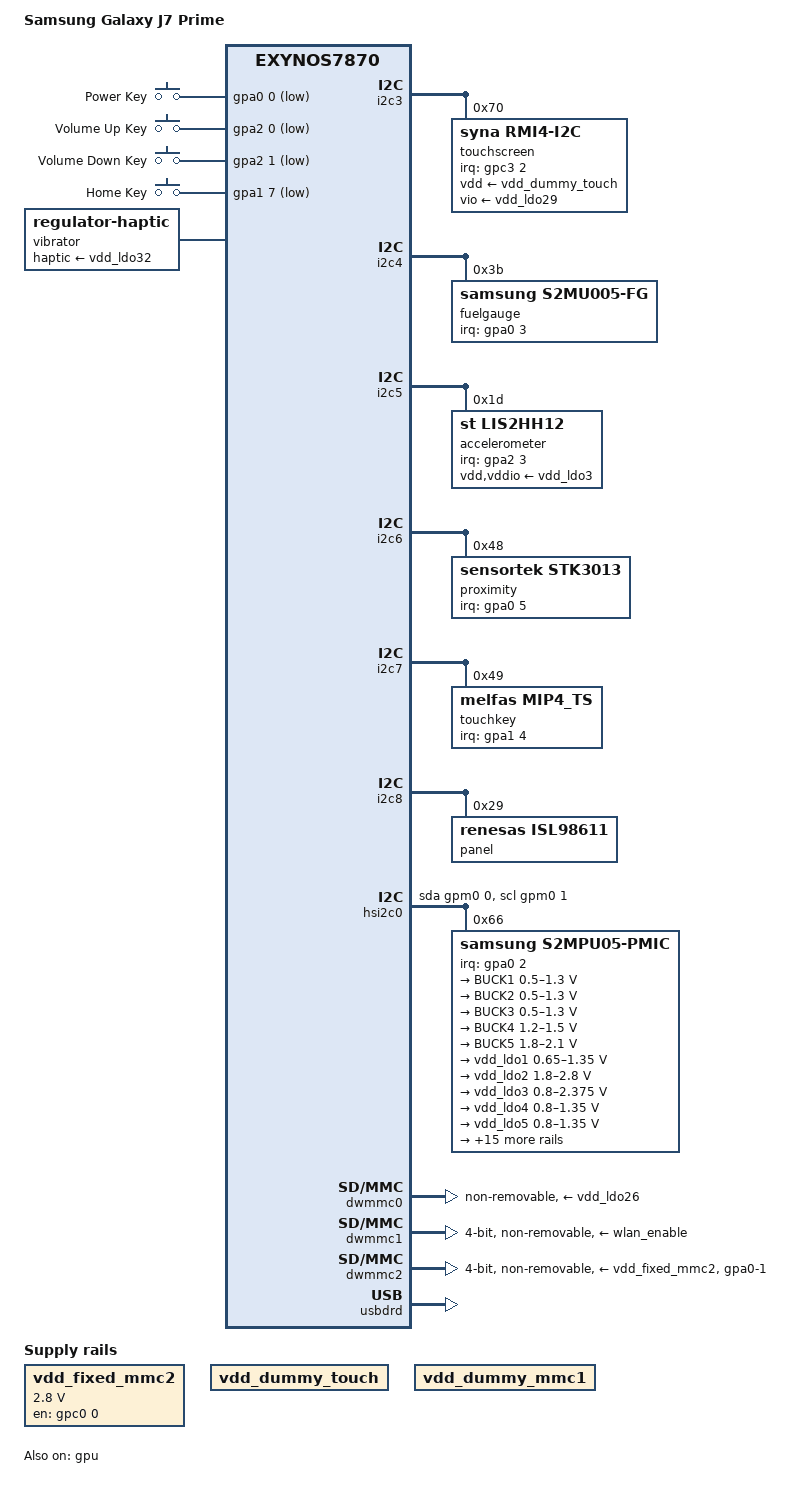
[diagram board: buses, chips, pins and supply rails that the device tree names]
// SPDX-License-Identifier: GPL-2.0
/*
 * Samsung Galaxy J7 Prime (on7xelte) device tree source
 *
 * Copyright (c) ???
 */

/dts-v1/;
#include "exynos7870.dtsi"
#include <dt-bindings/gpio/gpio.h>
#include <dt-bindings/input/input.h>
#include <dt-bindings/interrupt-controller/irq.h>

/ {
	model = "Samsung Galaxy J7 Prime";
	compatible = "samsung,on7xelte", "samsung,exynos7870";
	chassis-type = "handset";

	chosen {
	};

	reserved-memory {
		#address-cells = <2>;
		#size-cells = <1>;
		ranges;

		mfc_nfw@AE60000 {
			reg = <0 0xae600000 0x200000>;
		};

		mfc_fw@AE800000 {
			reg = <0 0xae800000 0x200000>;
		};

		bootloaderfb@67000000 {
			reg = <0 0x67000000 0x7e9000>;
			no-map;
		};
	};

	memory@40000000 {
		device_type = "memory";
		reg = <0 0x40000000 0x3e400000>;
	};

	memory@80000000 {
		device_type = "memory";
		reg = <0 0x80000000 0x80000000>;
	};

	bootloaderfb@67000000 {
		compatible = "simple-framebuffer";
		reg = <0 0x67000000 (1080*1920*4)>;
		width = <1080>;
		height = <1920>;
		stride = <(1080*4)>;
		format = "a8r8g8b8";
	};

	gpio-keys {
		compatible = "gpio-keys";
		pinctrl-names = "default";
		pinctrl-0 = <&key_power &key_volup &key_voldown &key_home>;

		key-power {
			label = "Power Key";
			gpios = <&gpa0 0 GPIO_ACTIVE_LOW>;
			linux,code = <KEY_POWER>;
	        };

		key-volup {
			label = "Volume Up Key";
			gpios = <&gpa2 0 GPIO_ACTIVE_LOW>;
			linux,code = <KEY_VOLUMEUP>;
		};

		key-voldown {
			label = "Volume Down Key";
			gpios = <&gpa2 1 GPIO_ACTIVE_LOW>;
			linux,code = <KEY_VOLUMEDOWN>;
		};

		key-home {
			label = "Home Key";
			gpios = <&gpa1 7 GPIO_ACTIVE_LOW>;
			linux,code = <KEY_HOMEPAGE>;
		};
	};

	vibrator {
		compatible = "regulator-haptic";
		haptic-supply = <&vdd_ldo32>;
		min-microvolt = <3300000>;
		max-microvolt = <3300000>;
	};

	vdd_fixed_mmc2: fixedregulator-mmc2 {
		compatible = "regulator-fixed";
		regulator-name = "vdd_fixed_mmc2";
		regulator-max-microvolt = <2800000>;
		regulator-min-microvolt = <2800000>;

		gpio = <&gpc0 0 GPIO_ACTIVE_HIGH>;
		enable-active-high;
	};

	vdd_dummy_touch: dummyregulator-touch {
		compatible = "regulator-fixed";
		regulator-name = "vdd_dummy_touch";
	};

	vdd_dummy_mmc1: dummyregulator-mmc1 {
		compatible = "regulator-fixed";
		regulator-name = "vdd_dummy_mmc1";
	};
};

&pinctrl0 {
	cd_ext_irq: dwmmc2-cd-ext-irq {
		samsung,pins = "gpa0-1";
		samsung,pin-function = <EXYNOS_PIN_FUNC_EINT>;
		samsung,pin-pud = <EXYNOS_PIN_PULL_NONE>;
		samsung,pin-drv = <EXYNOS5433_PIN_DRV_FAST_SR1>;
	};

	pmic_irq: pmic-irq {
		samsung,pins = "gpa0-2";
		samsung,pin-pud = <EXYNOS_PIN_PULL_UP>;
		samsung,pin-drv = <EXYNOS5433_PIN_DRV_FAST_SR4>;
	};

	tkey-irq {
		samsung,pins = "gpa1-4";
		samsung,pin-function = <EXYNOS_PIN_FUNC_EINT>;
		samsung,pin-pud = <EXYNOS_PIN_PULL_NONE>;
		samsung,pin-drv = <EXYNOS5433_PIN_DRV_FAST_SR1>;
	};

	tkey-input {
		samsung,pins = "gpa1-4";
		samsung,pin-function = <EXYNOS_PIN_FUNC_INPUT>;
		samsung,pin-pud = <EXYNOS_PIN_PULL_NONE>;
		samsung,pin-drv = <EXYNOS5433_PIN_DRV_FAST_SR1>;
	};

	key_power: key-power {
		samsung,pins = "gpa0-0";
		samsung,pin-function = <EXYNOS_PIN_FUNC_EINT>;
		samsung,pin-pud = <EXYNOS_PIN_PULL_NONE>;
		samsung,pin-drv = <EXYNOS5433_PIN_DRV_FAST_SR1>;
	};

	key_volup: key-volup {
		samsung,pins = "gpa2-0";
		samsung,pin-function = <EXYNOS_PIN_FUNC_EINT>;
		samsung,pin-pud = <EXYNOS_PIN_PULL_NONE>;
		samsung,pin-drv = <EXYNOS5433_PIN_DRV_FAST_SR1>;
	};

	key_voldown: key-voldown {
		samsung,pins = "gpa2-1";
		samsung,pin-function = <EXYNOS_PIN_FUNC_EINT>;
		samsung,pin-pud = <EXYNOS_PIN_PULL_NONE>;
		samsung,pin-drv = <EXYNOS5433_PIN_DRV_FAST_SR1>;
	};

	key_home: key-home {
		samsung,pins = "gpa1-7";
		samsung,pin-function = <EXYNOS_PIN_FUNC_EINT>;
		samsung,pin-pud = <EXYNOS_PIN_PULL_NONE>;
		samsung,pin-drv = <EXYNOS5433_PIN_DRV_FAST_SR1>;
	};

	btp-irq {
		samsung,pins = "gpa0-7";
		samsung,pin-function = <EXYNOS_PIN_FUNC_INPUT>;
		samsung,pin-pud = <EXYNOS_PIN_PULL_NONE>;
		samsung,pin-drv = <EXYNOS5433_PIN_DRV_FAST_SR4>;
	};

	proxm_irq: proxm-irq {
		samsung,pins = "gpa0-5";
		samsung,pin-function = <EXYNOS_PIN_FUNC_EINT>;
		samsung,pin-pud = <EXYNOS_PIN_PULL_NONE>;
		samsung,pin-drv = <EXYNOS5433_PIN_DRV_FAST_SR1>;
	};

	wlan_enable: wlan-enable {
		samsung,pins = "gpa2-2";
		samsung,pin-function = <EXYNOS_PIN_FUNC_INPUT>;
		samsung,pin-pud = <EXYNOS_PIN_PULL_DOWN>;
	};

	accel_irq: accel-irq {
		samsung,pins = "gpa2-3";
		samsung,pin-function = <EXYNOS_PIN_FUNC_EINT>;
		samsung,pin-pud = <EXYNOS_PIN_PULL_NONE>;
		samsung,pin-drv = <EXYNOS5433_PIN_DRV_FAST_SR1>;
	};

	grip-irq {
		samsung,pins = "gpa1-5";
		samsung,pin-function = <EXYNOS_PIN_FUNC_EINT>;
		samsung,pin-pud = <EXYNOS_PIN_PULL_NONE>;
		samsung,pin-drv = <EXYNOS5433_PIN_DRV_FAST_SR1>;
	};

	if-irq {
		samsung,pins = "gpa2-7";
		samsung,pin-pud = <EXYNOS_PIN_PULL_UP>;
		samsung,pin-drv = <EXYNOS5433_PIN_DRV_FAST_SR4>;
	};

	if-pmic-irq {
		samsung,pins = "gpa2-7";
		samsung,pin-function = <EXYNOS_PIN_FUNC_INPUT>;
		samsung,pin-pud = <EXYNOS_PIN_PULL_NONE>;
		samsung,pin-drv = <EXYNOS5433_PIN_DRV_FAST_SR1>;
	};

	cod3026-irq {
		samsung,pins = "gpa0-4";
		samsung,pin-pud = <EXYNOS_PIN_PULL_UP>;
		samsung,pin-drv = <EXYNOS5433_PIN_DRV_FAST_SR4>;
	};

	fuel_irq: fuel-irq {
		samsung,pins = "gpa0-3";
		samsung,pin-function = <EXYNOS_PIN_FUNC_INPUT>;
		samsung,pin-pud = <EXYNOS_PIN_PULL_NONE>;
		samsung,pin-drv = <EXYNOS5433_PIN_DRV_FAST_SR1>;
	};
};

&pinctrl2 {
	btp-irq {
		samsung,pins = "gpa0-7";
		samsung,pin-function = <EXYNOS_PIN_FUNC_INPUT>;
		samsung,pin-pud = <EXYNOS_PIN_PULL_NONE>;
		samsung,pin-drv = <EXYNOS5433_PIN_DRV_FAST_SR4>;
	};
};

&pinctrl6 {
	pm_wrsti: pm-wrsti {
		samsung,pins = "gpd1-0";
		samsung,pin-con-pdn = <EXYNOS_PIN_PDN_PREV>;
	};

	btp-ldo {
		samsung,pins = "gpd4-5";
		samsung,pin-function = <EXYNOS_PIN_FUNC_OUTPUT>;
		samsung,pin-pud = <EXYNOS_PIN_PULL_DOWN>;
		samsung,pin-drv = <EXYNOS5433_PIN_DRV_FAST_SR1>;
	};

	btp-reset {
		samsung,pins = "gpd4-3";
		samsung,pin-function = <EXYNOS_PIN_FUNC_OUTPUT>;
		samsung,pin-pud = <EXYNOS_PIN_PULL_NONE>;
		samsung,pin-drv = <EXYNOS5433_PIN_DRV_FAST_SR4>;
	};

	cfg-wlanen {
		samsung,pins = "gpd3-6";
		samsung,pin-function = <EXYNOS_PIN_FUNC_OUTPUT>;
		samsung,pin-con-pdn = <EXYNOS_PIN_PDN_PREV>;
		samsung,pin-pud-pdn = <EXYNOS_PIN_PULL_NONE>;
		samsung,pin-pud = <EXYNOS_PIN_PULL_NONE>;
		samsung,pin-drv = <EXYNOS5433_PIN_DRV_FAST_SR4>;
		samsung,pin-val = <0>;
	};

	cnss-wlanen {
		samsung,pins = "gpd3-6";
		samsung,pin-function = <EXYNOS_PIN_FUNC_OUTPUT>;
		samsung,pin-con-pdn = <EXYNOS_PIN_PDN_PREV>;
		samsung,pin-pud-pdn = <EXYNOS_PIN_PULL_NONE>;
		samsung,pin-pud = <EXYNOS_PIN_PULL_NONE>;
		samsung,pin-drv = <EXYNOS5433_PIN_DRV_FAST_SR4>;
		samsung,pin-val = <0>;
	};

	ds-det {
		samsung,pins = "gpd2-3";
		samsung,pin-function = <EXYNOS_PIN_FUNC_INPUT>;
		samsung,pin-con-pdn = <EXYNOS_PIN_PDN_PREV>;
		samsung,pin-pud-pdn = <EXYNOS_PIN_PULL_NONE>;
		samsung,pin-pud = <EXYNOS_PIN_PULL_NONE>;
	};

	proxy-i2c {
		samsung,pins = "gpc5-1", "gpc5-0";
		samsung,pin-function = <EXYNOS_PIN_FUNC_2>;
		samsung,pin-pud = <EXYNOS_PIN_PULL_NONE>;
	};

	sensor-i2c {
		samsung,pins = "gpc4-3", "gpc4-2";
		samsung,pin-function = <EXYNOS_PIN_FUNC_2>;
		samsung,pin-pud = <EXYNOS_PIN_PULL_NONE>;
	};

	grip-i2c-bus {
		samsung,pins = "gpc1-3", "gpc1-2";
		samsung,pin-function = <EXYNOS_PIN_FUNC_2>;
		samsung,pin-pud = <EXYNOS_PIN_PULL_NONE>;
	};
};

&pinctrl7 {
	attn-input {
		samsung,pins = "gpc3-2";
		samsung,pin-function = <EXYNOS_PIN_FUNC_INPUT>;
		samsung,pin-pud = <EXYNOS_PIN_PULL_NONE>;
		samsung,pin-drv = <EXYNOS5433_PIN_DRV_FAST_SR1>;
	};

	attn_irq: attn-irq {
		samsung,pins = "gpc3-2";
		samsung,pin-function = <EXYNOS_PIN_FUNC_EINT>;
		samsung,pin-pud = <EXYNOS_PIN_PULL_NONE>;
		samsung,pin-drv = <EXYNOS5433_PIN_DRV_FAST_SR1>;
	};
};

&i2c3 {
	#address-cells = <1>;
	#size-cells = <0>;
	status = "okay";

	samsung,i2c-max-bus-freq = <400000>;
	samsung,i2c-sda-delay = <100>;

	touchscreen@70 {
		compatible = "syna,rmi4-i2c";
		#address-cells = <1>;
		#size-cells = <0>;
		reg = <0x70>;
		interrupt-parent = <&gpc3>;
		interrupts = <2 IRQ_TYPE_LEVEL_LOW>;

		pinctrl-names = "default";
		pinctrl-0 = <&attn_irq>;

		vdd-supply = <&vdd_dummy_touch>;
		vio-supply = <&vdd_ldo29>;

		syna,reset-delay-ms = <200>;
		syna,startup-delay-ms = <200>;

		rmi4-f01@1 {
			reg = <0x01>;
			syna,nosleep-mode = <1>;
		};

		rmi4-f12@12 {
			reg = <0x12>;
			syna,sensor-type = <1>;
			syna,rezero-wait-ms = <200>;
		};
	};
};

&i2c4 {
	#address-cells = <1>;
	#size-cells = <0>;
	status = "okay";

	samsung,i2c-max-bus-freq = <400000>;
	samsung,i2c-sda-delay = <100>;

	fuelgauge@3b {
		compatible = "samsung,s2mu005-fg";
		reg = <0x3b>;
		interrupt-parent = <&gpa0>;
		interrupts = <3 IRQ_TYPE_EDGE_BOTH>;

		pinctrl-names = "default";
		pinctrl-0 = <&fuel_irq>;
	};
};

&i2c5 {
	#address-cells = <1>;
	#size-cells = <0>;
	status = "okay";

	samsung,i2c-max-bus-freq = <400000>;
	samsung,i2c-sda-delay = <100>;

	accelerometer@1d {
		compatible = "st,lis2hh12";
		reg = <0x1d>;
		interrupt-parent = <&gpa2>;
		interrupts = <3 IRQ_TYPE_EDGE_RISING>;

		pinctrl-names = "default";
		pinctrl-0 = <&accel_irq>;

		vdd-supply = <&vdd_ldo3>;
		vddio-supply = <&vdd_ldo3>;

		mount-matrix = "1",  "0",  "0",
			       "0", "-1",  "0",
			       "0",  "0", "-1";

		st,drdy-int-pin = <1>;
	};
};

&i2c6 {
	#address-cells = <1>;
	#size-cells = <0>;
	status = "okay";

	samsung,i2c-max-bus-freq = <400000>;
	samsung,i2c-sda-delay = <100>;

	proximity@48 {
		compatible = "sensortek,stk3013";
		reg = <0x48>;
		interrupt-parent = <&gpa0>;
		interrupts = <5 IRQ_TYPE_EDGE_BOTH>;

		pinctrl-names = "default";
		pinctrl-0 = <&proxm_irq>;

		proximity-near-level = <25>;
	};
};

&i2c7 {
	#address-cells = <1>;
	#size-cells = <0>;
	status = "okay";

	samsung,i2c-max-bus-freq = <400000>;
	samsung,i2c-sda-delay = <100>;

	touchkey@49 {
		compatible = "melfas,mip4_ts";
		reg = <0x49>;
		interrupt-parent = <&gpa1>;
		interrupts = <4 IRQ_TYPE_LEVEL_LOW>;

		mip4_ts,keycode = <KEY_CYCLEWINDOWS KEY_BACK>;
	};
};

&i2c8 {
	#address-cells = <1>;
	#size-cells = <0>;
	status = "okay";

	samsung,i2c-max-bus-freq = <400000>;
	samsung,i2c-sda-delay = <100>;

	panel@29 {
		compatible = "renesas,isl98611";
		reg = <0x29>;
	};
};

&hsi2c0 {
	#address-cells = <1>;
	#size-cells = <0>;
	status = "okay";

	sda-gpios = <&gpm0 0 GPIO_ACTIVE_HIGH>;
	scl-gpios = <&gpm0 1 GPIO_ACTIVE_HIGH>;
	i2c-gpio,delay-us = <2>;

	s2mpu05-pmic@66 {
		compatible = "samsung,s2mpu05-pmic";
		reg = <0x66>;
		interrupt-parent = <&gpa0>;
		interrupts = <2 IRQ_TYPE_LEVEL_LOW>;

		pinctrl-names = "default";
		pinctrl-0 = <&pmic_irq &pm_wrsti>;

		regulators {
			BUCK1 {
				regulator-name = "BUCK1";
				regulator-min-microvolt = <500000>;
				regulator-max-microvolt = <1300000>;
				regulator-ramp-delay = <12000>;

				regulator-expected-consumer = <2>;

				regulator-always-on;
				regulator-boot-on;
			};

			BUCK2 {
				regulator-name = "BUCK2";
				regulator-min-microvolt = <500000>;
				regulator-max-microvolt = <1300000>;
				regulator-ramp-delay = <12000>;

				regulator-expected-consumer = <4>;

				regulator-always-on;
				regulator-boot-on;
			};

			BUCK3 {
				regulator-name = "BUCK3";
				regulator-min-microvolt = <500000>;
				regulator-max-microvolt = <1300000>;
				regulator-ramp-delay = <12000>;

				regulator-always-on;
				regulator-boot-on;
			};

			BUCK4 {
				regulator-name = "BUCK4";
				regulator-min-microvolt = <1200000>;
				regulator-max-microvolt = <1500000>;
				regulator-ramp-delay = <12000>;

				regulator-always-on;
				regulator-boot-on;
			};

			BUCK5 {
				regulator-name = "BUCK5";
				regulator-min-microvolt = <1800000>;
				regulator-max-microvolt = <2100000>;
				regulator-ramp-delay = <12000>;

				regulator-always-on;
				regulator-boot-on;
			};

			vdd_ldo1: LDO1 {
				regulator-name = "vdd_ldo1";
				regulator-min-microvolt = <650000>;
				regulator-max-microvolt = <1350000>;
				regulator-ramp-delay = <12000>;

				regulator-always-on;
				regulator-boot-on;
			};

			vdd_ldo2: LDO2 {
				regulator-name = "vdd_ldo2";
				regulator-min-microvolt = <1800000>;
				regulator-max-microvolt = <2800000>;
				regulator-ramp-delay = <12000>;
			};

			vdd_ldo3: LDO3 {
				regulator-name = "vdd_ldo3";
				regulator-min-microvolt = <800000>;
				regulator-max-microvolt = <2375000>;
				regulator-ramp-delay = <12000>;
				regulator-always-on;
				regulator-boot-on;
			};

			vdd_ldo4: LDO4 {
				regulator-name = "vdd_ldo4";
				regulator-min-microvolt = <800000>;
				regulator-max-microvolt = <1350000>;
				regulator-ramp-delay = <12000>;

				regulator-always-on;
				regulator-boot-on;
			};

			vdd_ldo5: LDO5 {
				regulator-name = "vdd_ldo5";
				regulator-min-microvolt = <800000>;
				regulator-max-microvolt = <1350000>;
				regulator-ramp-delay = <12000>;

				regulator-always-on;
				regulator-boot-on;
			};

			vdd_ldo6: LDO6 {
				regulator-name = "vdd_ldo6";
				regulator-min-microvolt = <800000>;
				regulator-max-microvolt = <1350000>;
				regulator-ramp-delay = <12000>;

				regulator-always-on;
				regulator-boot-on;
			};

			vdd_ldo7: LDO7 {
				regulator-name = "vdd_ldo7";
				regulator-min-microvolt = <800000>;
				regulator-max-microvolt = <2375000>;
				regulator-ramp-delay = <12000>;

				regulator-always-on;
				regulator-boot-on;
			};

			vdd_ldo8: LDO8 {
				regulator-name = "vdd_ldo8";
				regulator-min-microvolt = <1800000>;
				regulator-max-microvolt = <3375000>;
				regulator-ramp-delay = <12000>;

				regulator-always-on;
				regulator-boot-on;
			};

			vdd_ldo9: LDO9 {
				regulator-name = "vdd_ldo9";
				regulator-min-microvolt = <650000>;
				regulator-max-microvolt = <1350000>;
				regulator-ramp-delay = <12000>;

				regulator-always-on;
				regulator-boot-on;
			};

			vdd_ldo10: LDO10 {
				regulator-name = "vdd_ldo10";
				regulator-min-microvolt = <650000>;
				regulator-max-microvolt = <1350000>;
				regulator-ramp-delay = <12000>;

				regulator-always-on;
			};

			vdd_ldo25: LDO25 {
				regulator-name = "vdd_ldo25";
				regulator-min-microvolt = <800000>;
				regulator-max-microvolt = <2375000>;
				regulator-ramp-delay = <12000>;
			};

			vdd_ldo26: LDO26 {
				regulator-name = "vdd_ldo26";
				regulator-min-microvolt = <1800000>;
				regulator-max-microvolt = <3375000>;
				regulator-ramp-delay = <12000>;

				regulator-always-on;
				regulator-boot-on;
			};

			vdd_ldo27: LDO27 {
				regulator-name = "vdd_ldo27";
				regulator-min-microvolt = <800000>;
				regulator-max-microvolt = <2375000>;
				regulator-ramp-delay = <12000>;

				regulator-always-on;
				regulator-boot-on;
			};

			vdd_ldo28: LDO28 {
				regulator-name = "vdd_ldo28";
				regulator-min-microvolt = <2800000>;
				regulator-max-microvolt = <2800000>;
			};

			vdd_ldo29: LDO29 {
				regulator-name = "vdd_ldo29";
				regulator-min-microvolt = <1800000>;
				regulator-max-microvolt = <1800000>;
				regulator-ramp-delay = <12000>;
			};

			vdd_ldo31: LDO31 {
				regulator-name = "vdd_ldo31";
				regulator-min-microvolt = <2800000>;
				regulator-max-microvolt = <2800000>;
				regulator-ramp-delay = <12000>;

				regulator-always-on;
				regulator-boot-on;
			};

			vdd_ldo32: LDO32 {
				regulator-name = "vdd_ldo32";
				regulator-min-microvolt = <3300000>;
				regulator-max-microvolt = <3300000>;
				regulator-ramp-delay = <12000>;
			};

			vdd_ldo33: LDO33 {
				regulator-name = "vdd_ldo33";
				regulator-min-microvolt = <3300000>;
				regulator-max-microvolt = <3300000>;
				regulator-ramp-delay = <12000>;
				regulator-boot-on;
				regulator-always-on;
			};

			vdd_ldo34: LDO34 {
				regulator-name = "vdd_ldo34";
				regulator-min-microvolt = <3000000>;
				regulator-max-microvolt = <3000000>;
				regulator-ramp-delay = <12000>;

				regulator-always-on;
				regulator-boot-on;
			};

			vdd_ldo35: LDO35 {
				regulator-name = "vdd_ldo35";
				regulator-min-microvolt = <2800000>;
				regulator-max-microvolt = <2800000>;
			};
		};
	};
};

&gpu {
	status = "okay";
};

&dwmmc0 {
	status = "okay";
	non-removable;

	vmmc-supply = <&vdd_ldo26>;
	vqmmc-supply = <&vdd_ldo27>;

	fifo-depth = <64>;
	samsung,dw-mshc-ciu-div = <3>;
	samsung,dw-mshc-sdr-timing = <0 4>;
	samsung,dw-mshc-ddr-timing = <2 4>;
};

&dwmmc1 {
	status = "okay";
	non-removable;
	fifo-access-32bit;
	sd-uhs-sdr50;
	sd-uhs-sdr104;
	cap-sdio-irq;
	cap-sd-highspeed;

	pinctrl-names = "default";
	pinctrl-0 = <&sd1_clk &sd1_cmd &sd1_bus1 &sd1_bus4>;

	vmmc-supply = <&wlan_enable>;
	vqmmc-supply = <&vdd_dummy_mmc1>;

	bus-width = <4>;
	fifo-depth = <64>;
	samsung,dw-mshc-ciu-div = <3>;
	samsung,dw-mshc-sdr-timing = <0 3>;
	samsung,dw-mshc-ddr-timing = <1 2>;
	samsung,dw-mshc-sdr50-timing = <2 4>;
	samsung,dw-mshc-sdr104-timing = <0 3>;
};

&dwmmc2 {
	status = "okay";
	non-removable;
	disable-wp;

	pinctrl-names = "default";
	pinctrl-0 = <&sd2_clk &sd2_cmd &sd2_bus1 &sd2_bus4 &cd_ext_irq>;

	vmmc-supply = <&vdd_fixed_mmc2>;
	vqmmc-supply = <&vdd_ldo2>;

	bus-width = <4>;
	fifo-depth = <64>;
	samsung,dw-mshc-ciu-div = <3>;
	samsung,dw-mshc-sdr-timing = <0 3>;
	samsung,dw-mshc-ddr-timing = <1 2>;
};

&usbdrd {
	status = "okay";
};
